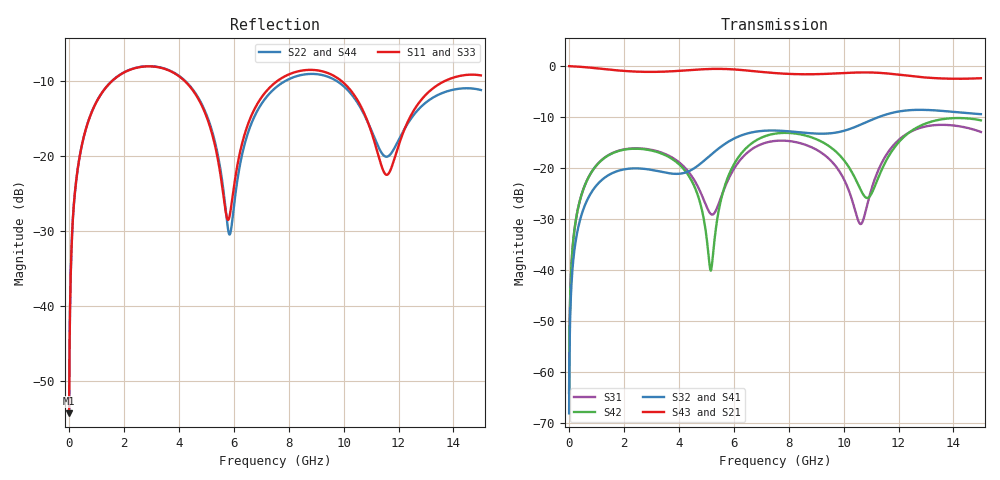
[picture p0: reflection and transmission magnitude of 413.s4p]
! Created with skrf 1.8.0 (http://scikit-rf.org).
# GHz S RI R 50.0
!freq ReS11 ImS11 ReS12 ImS12 ReS13 ImS13
! ReS14 ImS14
! ReS21 ImS21 ReS22 ImS22 ReS23 ImS23
! ReS24 ImS24
! ReS31 ImS31 ReS32 ImS32 ReS33 ImS33
! ReS34 ImS34
! ReS41 ImS41 ReS42 ImS42 ReS43 ImS43
! ReS44 ImS44
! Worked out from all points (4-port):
!   2499 points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, 5 MHz to 15 GHz, reference 50 ohm
!   strongest paths, dB at 5 MHz, 3.476 GHz, 7.19 GHz, 11.1 GHz, 15 GHz:
!     S43: 0.0, -1.1, -1.2, -1.3, -2.4
!     S21: 0.0, -1.1, -1.2, -1.3, -2.4
!     S32: -68.1, -20.8, -12.7, -10.4, -9.4
!     S41: -68.1, -20.9, -12.7, -10.4, -9.6
!     S42: -64.1, -17.4, -13.6, -24.1, -10.6
!     S31: -64.1, -17.2, -15.0, -22.7, -12.9
!   lowest |S11| = -54.3 dB at 5 MHz (marker M1), VSWR 1.00, Z = 50.2 + j0.118 ohm
!   |S11| at or under -10 dB: start of sweep to 1.586 GHz; 4.197 GHz to 7.61 GHz (3.413 GHz wide, 57.8 % of centre); 9.902 GHz to 13.72 GHz (3.82 GHz wide, 32.3 % of centre)
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0.005  0.00154 0.00117  0.9984 -0.00301  7.75e-05 0.00062  -7.53e-05 -0.000387
       0.9984 -0.00301  0.00154 0.00117  -7.53e-05 -0.000387  7.75e-05 0.00062
       7.75e-05 0.00062  -7.53e-05 -0.000387  0.00154 0.00117  0.9984 -0.00301
       -7.53e-05 -0.000387  7.75e-05 0.00062  0.9984 -0.00301  0.00154 0.00117
0.3126303  0.0217 0.0775  0.9704 -0.1874  0.01 0.037  -0.0083 -0.023
           0.9704 -0.1874  0.0217 0.0775  -0.00831 -0.023  0.00991 0.0371
           0.01 0.037  -0.00831 -0.023  0.0217 0.0775  0.9704 -0.1874
           -0.0083 -0.023  0.00991 0.0371  0.9704 -0.1874  0.0217 0.0775
1.469362  0.2353 0.1885  0.6209 -0.6839  0.1163 0.0696  -0.0843 -0.0179
          0.6209 -0.6839  0.2357 0.1884  -0.0845 -0.0177  0.1144 0.0718
          0.1163 0.0696  -0.0845 -0.0177  0.2352 0.1886  0.6209 -0.6838
          -0.0843 -0.0179  0.1144 0.0718  0.6209 -0.6838  0.2358 0.1883
5.633597  0.0386 -0.0361  -0.9246 -0.1566  -0.0348 0.0496  -0.0281 0.167
          -0.9246 -0.1566  0.0323 -0.047  -0.0244 0.1676  0.0177 0.059
          -0.0348 0.0496  -0.0244 0.1676  0.0391 -0.0372  -0.9245 -0.157
          -0.0281 0.167  0.0177 0.059  -0.9245 -0.157  0.0323 -0.0478
9.110046  0.3618 -0.067  0.0382 0.8329  0.1363 -0.053  0.2038 -0.0679
          0.0382 0.8329  0.3452 -0.0349  0.2036 -0.0768  0.1409 -0.1225
          0.1363 -0.053  0.2036 -0.0768  0.3582 -0.0645  0.0385 0.8338
          0.2038 -0.0679  0.1409 -0.1225  0.0385 0.8338  0.3442 -0.038
11.69237  0.0784 0.0104  0.8358 0.1004  -0.00379 0.1523  0.036 -0.3419
          0.8358 0.1004  0.1013 0.00722  0.0217 -0.3433  0.00966 0.1374
          -0.00379 0.1523  0.0217 -0.3433  0.0786 0.0105  0.836 0.0992
          0.036 -0.3419  0.00966 0.1374  0.836 0.0992  0.1006 0.0116
15  0.3253 -0.1063  0.051 -0.7579  0.222 -0.0432  -0.3232 0.0632
    0.051 -0.7579  0.2685 -0.0524  -0.3271 0.0859  0.2408 -0.1685
    0.222 -0.0432  -0.3271 0.0859  0.3164 -0.0948  0.0502 -0.759
    -0.3232 0.0632  0.2408 -0.1685  0.0502 -0.759  0.2726 -0.0678
